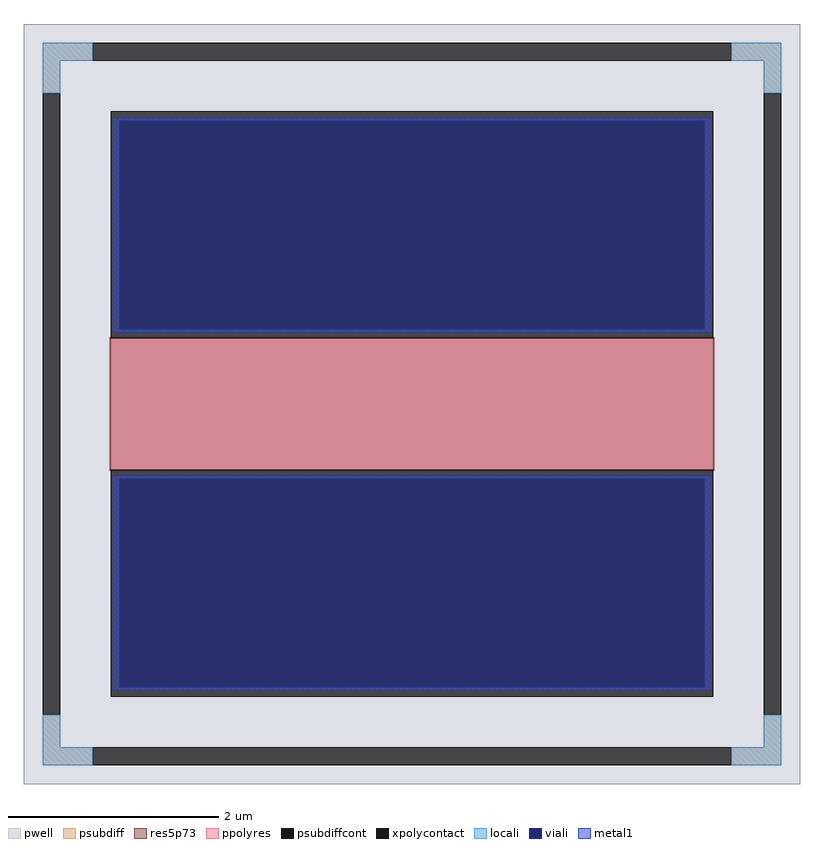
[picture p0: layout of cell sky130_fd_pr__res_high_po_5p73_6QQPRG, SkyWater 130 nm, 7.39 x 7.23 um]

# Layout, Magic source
magic
tech sky130A
magscale 1 2
<< pwell >>
rect -739 -723 739 723
<< psubdiff >>
rect -703 653 -607 687
rect 607 653 703 687
rect -703 591 -669 653
rect 669 591 703 653
rect -703 -653 -669 -591
rect 669 -653 703 -591
rect -703 -687 -607 -653
rect 607 -687 703 -653
<< psubdiffcont >>
rect -607 653 607 687
rect -703 -591 -669 591
rect 669 -591 703 591
rect -607 -687 607 -653
<< xpolycontact >>
rect -573 125 573 557
rect -573 -557 573 -125
<< ppolyres >>
rect -573 -125 573 125
<< locali >>
rect -703 653 -607 687
rect 607 653 703 687
rect -703 591 -669 653
rect 669 591 703 653
rect -703 -653 -669 -591
rect 669 -653 703 -591
rect -703 -687 -607 -653
rect 607 -687 703 -653
<< viali >>
rect -557 142 557 539
rect -557 -539 557 -142
<< metal1 >>
rect -569 539 569 545
rect -569 142 -557 539
rect 557 142 569 539
rect -569 136 569 142
rect -569 -142 569 -136
rect -569 -539 -557 -142
rect 557 -539 569 -142
rect -569 -545 569 -539
<< res5p73 >>
rect -575 -127 575 127
<< properties >>
string FIXED_BBOX -686 -670 686 670
string gencell sky130_fd_pr__res_high_po_5p73
string library sky130
string parameters w 5.730 l 1.25 m 1 nx 1 wmin 5.730 lmin 0.50 rho 319.8 val 137.764 dummy 0 dw 0.0 term 194.82 sterm 0.0 caplen 0 guard 1 glc 1 grc 1 gtc 1 gbc 1 compatible {sky130_fd_pr__res_high_po_0p35  sky130_fd_pr__res_high_po_0p69 sky130_fd_pr__res_high_po_1p41  sky130_fd_pr__res_high_po_2p85 sky130_fd_pr__res_high_po_5p73} full_metal 1 wmax 5.730 n_guard 0 hv_guard 0 vias 1 viagb 0 viagt 0 viagl 0 viagr 0
<< end >>
